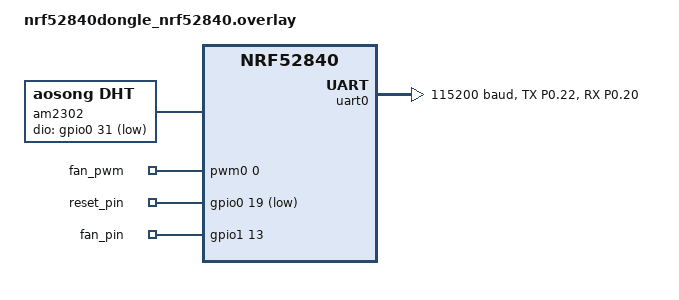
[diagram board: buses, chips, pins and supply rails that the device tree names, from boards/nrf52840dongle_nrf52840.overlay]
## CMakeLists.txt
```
# Copyright (c) 2023 Jamie M.
# All right reserved. This code is not apache or FOSS/copyleft licensed.

cmake_minimum_required(VERSION 3.24.0)
find_package(Zephyr REQUIRED HINTS $ENV{ZEPHYR_BASE})
project(central_esp)

target_sources(app PRIVATE src/main.c)
```

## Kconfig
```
# Copyright 2023 Jamie M.

menu "Application settings"

module = APPLICATION
module-str = application
source "subsys/logging/Kconfig.template.log_config"

menuconfig APP_START_BOOTUP
	bool "Start connecting at boot-up"
	help
	  Enables the state machine at boot-up automatically, otherwise needs
	  to be started manually via the shell.

menu "ESS profile listeners"

menuconfig APP_ESS_TEMPERATURE
	bool "Temperature"
	default y
	help
	  Enables subscribing to and outputting temperature readings.

menuconfig APP_ESS_HUMIDITY
	bool "Humidity"
	default y
	help
	  Enables subscribing to and outputting humidity readings.

menuconfig APP_ESS_PRESSURE
	bool "Pressure"
	help
	  Enables subscribing to and outputting pressure readings.

menuconfig APP_ESS_DEW_POINT
	bool "Dew point"
	help
	  Enables subscribing to and outputting dew point readings.

endmenu

menuconfig APP_BATTERY_LEVEL
	bool "Battery level"
	default y
	help
	  Enables subscribing to and outputting battery level.

choice
	prompt "Output format"
	default APP_OUTPUT_FORMAT_CSV

config APP_OUTPUT_FORMAT_CSV
	bool "CSV"
	help
	  Output will be in CSV format, with headings of each field.

config APP_OUTPUT_FORMAT_CUSTOM
	bool "Custom"
	help
	  Output will be in custom concise format, without headings

endchoice

menu "Output fields"

menuconfig APP_OUTPUT_DEVICE_ADDRESS
	bool "Device address"
	help
	  Include device Bluetooth address in output.

menuconfig APP_OUTPUT_DEVICE_NAME
	bool "Device name"
	help
	  Include device name (from struct) in output.

endmenu

endmenu

source "Kconfig.zephyr"
```

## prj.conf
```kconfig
# Copyright (c) 2023-2024 Jamie M.
# All right reserved. This code is not apache or FOSS/copyleft licensed.

CONFIG_BT=y
CONFIG_LOG=n
CONFIG_BT_CENTRAL=y
CONFIG_BT_SMP=y
CONFIG_BT_GATT_CLIENT=y
CONFIG_BT_MAX_CONN=3
CONFIG_BT_CTLR_LE_PING=n
CONFIG_BT_CTLR_PRIVACY=n
CONFIG_BT_GATT_SERVICE_CHANGED=n
CONFIG_NEWLIB_LIBC=y
CONFIG_NEWLIB_LIBC_FLOAT_PRINTF=y
CONFIG_FPU=y
CONFIG_SHELL=y
CONFIG_SHELL_PROMPT_UART=""
CONFIG_SHELL_ECHO_STATUS=n
CONFIG_SHELL_WILDCARD=n
CONFIG_SHELL_TAB=n
CONFIG_SHELL_VT100_COMMANDS=n
CONFIG_SHELL_METAKEYS=n
CONFIG_SHELL_HELP=n
CONFIG_SHELL_HISTORY=n
CONFIG_SHELL_STATS=n
CONFIG_SHELL_CMDS=n
CONFIG_DEVICE_SHELL=n
CONFIG_DEVMEM_SHELL=n
CONFIG_KERNEL_SHELL=n
CONFIG_CLOCK_CONTROL_NRF_SHELL=n
CONFIG_MAIN_STACK_SIZE=2048
CONFIG_BOOT_BANNER=n
CONFIG_SENSOR_SHELL=n
CONFIG_BT_CTLR_LE_ENC=n
CONFIG_BT_CTLR_TX_PWR_PLUS_8=y
CONFIG_BT_CTLR_TX_PWR_DYNAMIC_CONTROL=y
CONFIG_BT_CTLR_RX_BUFFERS=6
CONFIG_BT_SMP=n
CONFIG_BT_MAX_PAIRED=0
CONFIG_BT_CREATE_CONN_TIMEOUT=6
CONFIG_BT_ECC=n
CONFIG_BT_AUTO_PHY_UPDATE=n
CONFIG_BT_CTLR_PHY_2M=n
CONFIG_BT_BUF_ACL_TX_SIZE=40
CONFIG_BT_BUF_ACL_TX_COUNT=6
CONFIG_BT_BUF_ACL_RX_SIZE=40
CONFIG_BT_BUF_ACL_RX_COUNT=6
CONFIG_BT_BUF_EVT_RX_SIZE=90
CONFIG_BT_BUF_EVT_RX_COUNT=6
CONFIG_BT_BUF_EVT_DISCARDABLE_SIZE=90
CONFIG_BT_BUF_EVT_DISCARDABLE_COUNT=6
CONFIG_BT_BUF_CMD_TX_COUNT=4
CONFIG_BT_CONN_TX_MAX=6
CONFIG_BT_L2CAP_TX_BUF_COUNT=6
CONFIG_BT_L2CAP_TX_FRAG_COUNT=4
CONFIG_BT_L2CAP_TX_MTU=60
CONFIG_BT_ATT_TX_COUNT=7
CONFIG_BT_CTLR_DUP_FILTER_LEN=8
CONFIG_BT_BUF_CMD_TX_SIZE=90
CONFIG_BT_PHY_UPDATE=n
CONFIG_SPEED_OPTIMIZATIONS=y
CONFIG_CRC=n
CONFIG_USB_DEVICE_INITIALIZE_AT_BOOT=y
CONFIG_SENSOR=y
CONFIG_APP_START_BOOTUP=y
CONFIG_PWM=y
CONFIG_REBOOT=y
CONFIG_PM_DEVICE=y
CONFIG_BT_CTLR_ADVANCED_FEATURES=y
CONFIG_BT_CTLR_ASSERT_OVERHEAD_START=n
# CONFIG_DHT_LOCK_IRQS=y
```

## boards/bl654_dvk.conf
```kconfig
# Copyright (c) 2023 Jamie M.
# All right reserved. This code is not apache or FOSS/copyleft licensed.

# Enable flash and reboot for bootloader functionality
CONFIG_REBOOT=y
CONFIG_FLASH=y
CONFIG_SPI_NOR=n
CONFIG_FLASH_SHELL=n
CONFIG_FLASH_LOAD_OFFSET=0x27000
```

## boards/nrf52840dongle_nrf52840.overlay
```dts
#include <zephyr/dt-bindings/gpio/nordic-nrf-gpio.h>

/ {
	chosen {
		zephyr,console = &uart0;
	};

	am2302 {
		compatible = "aosong,dht";
		status = "okay";
		dio-gpios = <&gpio0 31 (GPIO_PULL_UP | GPIO_ACTIVE_LOW)>;
		dht22;
	};

	/delete-node/ red_pwm_led;
	/delete-node/ green_pwm_led;
	/delete-node/ blue_pwm_led;
	/delete-node/ pwm0_default;
	/delete-node/ pwm0_sleep;

	/* Do this properly one day */
	pwm_output {
		compatible = "pwm-leds";
		fan_pwm: pwm_output_0 {
			pwms = <&pwm0 0 PWM_MSEC(60) 0>;
		};
	};

	leds {
		compatible = "gpio-leds";
		reset_pin: reset_0 {
			gpios = <&gpio0 19 GPIO_ACTIVE_LOW>;
		};
		fan_pin: fan_pin_0 {
			gpios = <&gpio1 13 (GPIO_ACTIVE_HIGH | NRF_GPIO_DRIVE_H0H1)>;
		};
	};
};

&uart0 {
	compatible = "nordic,nrf-uarte";
	status = "okay";
	current-speed = <115200>;
	pinctrl-0 = <&uart0_default>;
	pinctrl-1 = <&uart0_sleep>;
	pinctrl-names = "default", "sleep";
};

&pinctrl {
	pwm0_default: pwm0_default {
		group1 {
			psels = <NRF_PSEL(PWM_OUT0, 1, 13)>;
			nordic,drive-mode = <NRF_DRIVE_H0H1>;
		};
	};

	pwm0_sleep: pwm0_sleep {
		group1 {
			psels = <NRF_PSEL(PWM_OUT0, 1, 13)>;
			low-power-enable;
		};
	};

	uart0_default: uart0_default {
		group1 {
			psels = <NRF_PSEL(UART_TX, 0, 22)>;
		};
		group2 {
			psels = <NRF_PSEL(UART_RX, 0, 20)>;
			bias-pull-up;
		};
	};

	uart0_sleep: uart0_sleep {
		group1 {
			psels = <NRF_PSEL(UART_TX, 0, 22)>,
				<NRF_PSEL(UART_RX, 0, 20)>;
			low-power-enable;
		};
	};
};
```

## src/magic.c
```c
/*
 * Copyright (c) 2023 Jamie M.
 *
 * All right reserved. This code is not apache or FOSS/copyleft licensed.
 */

#include <zephyr/linker/sections.h>
#include <zephyr/init.h>
#include <zephyr/kernel.h>
#include <zephyr/devicetree.h>
#include <zephyr/drivers/flash.h>
#include <zephyr/device.h>
#include <zephyr/shell/shell.h>
#include <zephyr/sys/reboot.h>

Z_GENERIC_SECTION(.fake_boot_string) __attribute__((used))
const uint8_t boot_string[] = {
	0xff, 0xff, 0xff, 0xff, 0xff, 0xff, 0xff, 0xff,
	0xff, 0xff, 0xff, 0xff, 0xff, 0xff, 0xff, 0xff,
	0xff, 0xff, 0xff, 0xff, 0xff, 0xff, 0xff, 0xff,
	0xff, 0xff, 0xff, 0xff, 0xff, 0xff, 0xff, 0xff,
};

static const struct device *flash_device =
		DEVICE_DT_GET_OR_NULL(DT_CHOSEN(zephyr_flash_controller));

extern const uint32_t _fake_boot_string_start[];

static int fw_bootloader_handler(const struct shell *sh, size_t argc, char **argv)
{
	int rc;

	uint8_t data[] = {0x00, 0x00, 0x00, 0x00};

	rc = flash_write(flash_device, (off_t)_fake_boot_string_start, data, sizeof(data));

	if (rc == 0) {
		shell_print(sh, "Going to bootloader...");
		k_sleep(K_MSEC(300));
		sys_reboot(SYS_REBOOT_COLD);
	} else {
		shell_error(sh, "Failed to erase fake boot string: %d", rc);
	}

	return rc;
}

SHELL_STATIC_SUBCMD_SET_CREATE(fw_cmd,
	/* Command handlers */
	SHELL_CMD(bootloader, NULL, "Go to bootloader", fw_bootloader_handler),

	/* Array terminator. */
	SHELL_SUBCMD_SET_END
);

SHELL_CMD_REGISTER(fw, &fw_cmd, "Firmware commands", NULL);
```
